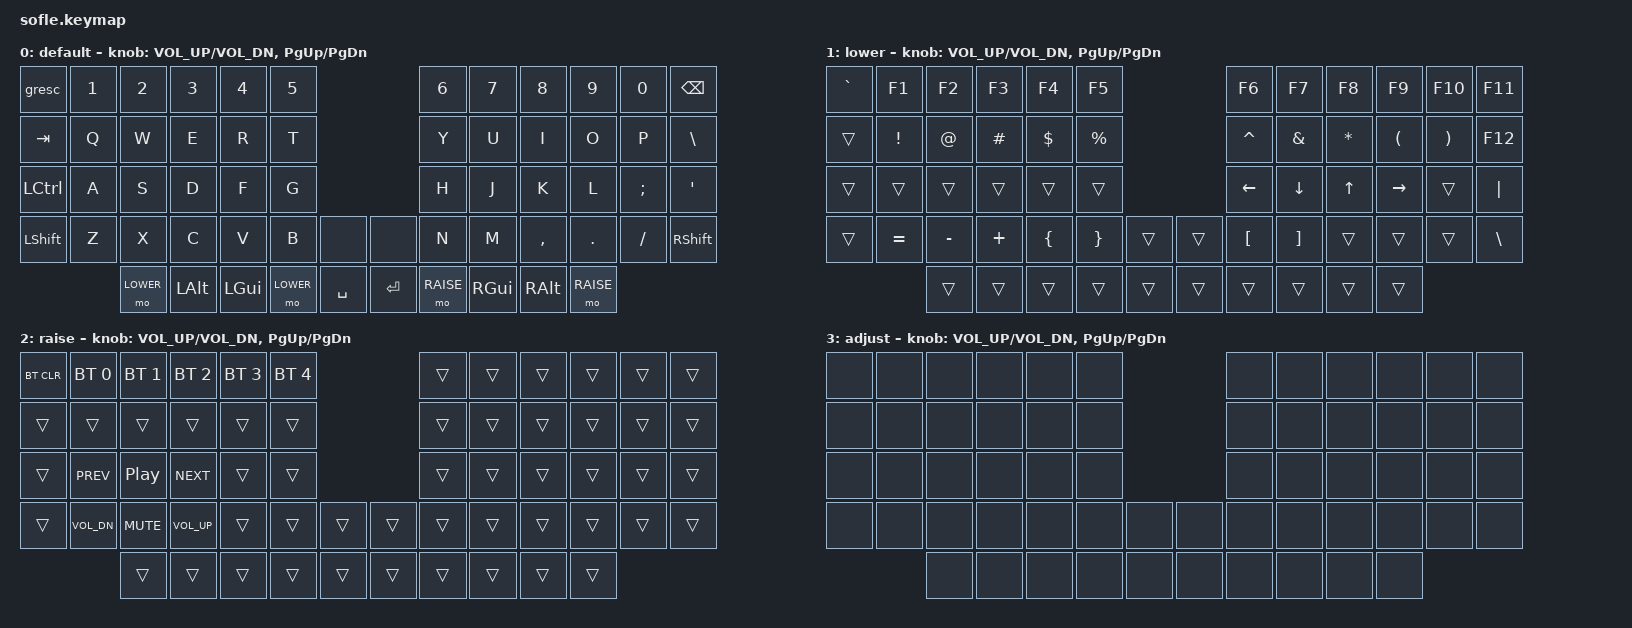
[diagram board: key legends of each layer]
/*
 * Copyright (c) 2020 The ZMK Contributors
 *
 * SPDX-License-Identifier: MIT
 */

#include <behaviors.dtsi>
#include <dt-bindings/zmk/keys.h>
#include <dt-bindings/zmk/bt.h>

#define BASE   0
#define LOWER  1
#define RAISE  2
#define ADJUST 3

&nice_view_spi {
    cs-gpios = <&pro_micro 4 GPIO_ACTIVE_HIGH>;
};

/ {
    conditional_layers {
        compatible = "zmk,conditional-layers";

        adjust_layer {
            if-layers = <LOWER RAISE>;
            then-layer = <ADJUST>;
        };
    };

    behaviors {
        gresc: grave_escape {
            compatible = "zmk,behavior-mod-morph";
            #binding-cells = <0>;
            bindings = <&kp ESC>, <&kp TILDE>;
            mods = <(MOD_LGUI|MOD_LSFT|MOD_RGUI|MOD_RSFT)>;
        };
    };

    keymap {
        compatible = "zmk,keymap";

        default_layer {
            display-name = "default";
                // ┏━━━━━━━┳━━━━━━━┳━━━━━━━┳━━━━━━━┳━━━━━━━┳━━━━━━━┓                  ┏━━━━━━━┳━━━━━━━┳━━━━━━━┳━━━━━━━┳━━━━━━━┳━━━━━━━┓
                // ┃  ESC  ┃   1   ┃   2   ┃   3   ┃   4   ┃   5   ┃                  ┃   6   ┃   7   ┃   8   ┃   9   ┃   0   ┃ BKSPC ┃
                // ┣━━━━━━━╋━━━━━━━╋━━━━━━━╋━━━━━━━╋━━━━━━━╋━━━━━━━┫                  ┣━━━━━━━╋━━━━━━━╋━━━━━━━╋━━━━━━━╋━━━━━━━╋━━━━━━━┫
                // ┃  TAB  ┃   Q   ┃   W   ┃   E   ┃   R   ┃   T   ┃                  ┃   Y   ┃   U   ┃   I   ┃   O   ┃   P   ┃   \   ┃
                // ┣━━━━━━━╋━━━━━━━╋━━━━━━━╋━━━━━━━╋━━━━━━━╋━━━━━━━┫                  ┣━━━━━━━╋━━━━━━━╋━━━━━━━╋━━━━━━━╋━━━━━━━╋━━━━━━━┫
                // ┃ LCTRL ┃   A   ┃   S   ┃   D   ┃   F   ┃   G   ┃                  ┃   H   ┃   J   ┃   K   ┃   L   ┃   ;   ┃   '   ┃
                // ┣━━━━━━━╋━━━━━━━╋━━━━━━━╋━━━━━━━╋━━━━━━━╋━━━━━━━╋━━━━━━━┓  ┏━━━━━━━╋━━━━━━━╋━━━━━━━╋━━━━━━━╋━━━━━━━╋━━━━━━━╋━━━━━━━┫
                // ┃ SHIFT ┃   Z   ┃   X   ┃   C   ┃   V   ┃   B   ┃  ???  ┃  ┃  ???  ┃   N   ┃   M   ┃   ,   ┃   .   ┃   /   ┃ SHIFT ┃
                // ┗━━━━━━━┻━━━━━━━╋━━━━━━━╋━━━━━━━╋━━━━━━━╋━━━━━━━╋━━━━━━━┫  ┣━━━━━━━╋━━━━━━━╋━━━━━━━╋━━━━━━━╋━━━━━━━╋━━━━━━━┻━━━━━━━┛
                //                 ┃ LOWER ┃  ALT  ┃  GUI  ┃ LOWER ┃ SPACE ┃  ┃ ENTER ┃ RAISE ┃  GUI  ┃  ALT  ┃ RAISE ┃
                //                 ┗━━━━━━━┻━━━━━━━┻━━━━━━━┻━━━━━━━┻━━━━━━━┛  ┗━━━━━━━┻━━━━━━━┻━━━━━━━┻━━━━━━━┻━━━━━━━┛
            bindings = <
                &gresc    &kp N1 &kp N2    &kp N3   &kp N4   &kp N5                      &kp N6    &kp N7   &kp N8    &kp N9    &kp N0   &kp BSPC
                &kp TAB   &kp Q  &kp W     &kp E    &kp R    &kp T                       &kp Y     &kp U    &kp I     &kp O     &kp P    &kp BSLH
                &kp LCTRL &kp A  &kp S     &kp D    &kp F    &kp G                       &kp H     &kp J    &kp K     &kp L     &kp SEMI &kp SQT
                &kp LSHFT &kp Z  &kp X     &kp C    &kp V    &kp B     &none     &none   &kp N     &kp M    &kp COMMA &kp DOT   &kp FSLH &kp RSHFT
                                 &mo LOWER &kp LALT &kp LGUI &mo LOWER &kp SPACE &kp RET &mo RAISE &kp RGUI &kp RALT  &mo RAISE
            >;
            sensor-bindings = <
                &inc_dec_kp C_VOL_UP C_VOL_DN
                &inc_dec_kp PG_UP PG_DN
            >;
        };

        lower_layer {
            display-name = "lower";
                // ┏━━━━━━━┳━━━━━━━┳━━━━━━━┳━━━━━━━┳━━━━━━━┳━━━━━━━┓                  ┏━━━━━━━┳━━━━━━━┳━━━━━━━┳━━━━━━━┳━━━━━━━┳━━━━━━━┓
                // ┃   `   ┃  F1   ┃  F2   ┃  F3   ┃  F4   ┃  F5   ┃                  ┃  F6   ┃  F7   ┃  F8   ┃  F9   ┃  F10  ┃  F11  ┃
                // ┣━━━━━━━╋━━━━━━━╋━━━━━━━╋━━━━━━━╋━━━━━━━╋━━━━━━━┫                  ┣━━━━━━━╋━━━━━━━╋━━━━━━━╋━━━━━━━╋━━━━━━━╋━━━━━━━┫
                // ┃       ┃   !   ┃   @   ┃   £   ┃   $   ┃   %   ┃                  ┃   ^   ┃   &   ┃   *   ┃   (   ┃   )   ┃  F12  ┃
                // ┣━━━━━━━╋━━━━━━━╋━━━━━━━╋━━━━━━━╋━━━━━━━╋━━━━━━━┫                  ┣━━━━━━━╋━━━━━━━╋━━━━━━━╋━━━━━━━╋━━━━━━━╋━━━━━━━┫
                // ┃       ┃       ┃       ┃       ┃       ┃       ┃                  ┃   ←   ┃   ↓   ┃   ↑   ┃   →   ┃       ┃   |   ┃
                // ┣━━━━━━━╋━━━━━━━╋━━━━━━━╋━━━━━━━╋━━━━━━━╋━━━━━━━╋━━━━━━━┓  ┏━━━━━━━╋━━━━━━━╋━━━━━━━╋━━━━━━━╋━━━━━━━╋━━━━━━━╋━━━━━━━┫
                // ┃       ┃   =   ┃   -   ┃   +   ┃   {   ┃   }   ┃       ┃  ┃       ┃   [   ┃   ]   ┃       ┃       ┃       ┃   \   ┃
                // ┗━━━━━━━┻━━━━━━━╋━━━━━━━╋━━━━━━━╋━━━━━━━╋━━━━━━━╋━━━━━━━┫  ┣━━━━━━━╋━━━━━━━╋━━━━━━━╋━━━━━━━╋━━━━━━━╋━━━━━━━┻━━━━━━━┛
                //                 ┃       ┃       ┃       ┃       ┃       ┃  ┃       ┃       ┃       ┃       ┃       ┃
                //                 ┗━━━━━━━┻━━━━━━━┻━━━━━━━┻━━━━━━━┻━━━━━━━┛  ┗━━━━━━━┻━━━━━━━┻━━━━━━━┻━━━━━━━┻━━━━━━━┛
            bindings = <
                &kp GRAVE &kp F1    &kp F2    &kp F3   &kp F4   &kp F5                  &kp F6    &kp F7   &kp F8    &kp F9    &kp F10  &kp F11
                &trans    &kp EXCL  &kp AT    &kp HASH &kp DLLR &kp PRCNT               &kp CARET &kp AMPS &kp ASTRK &kp LPAR  &kp RPAR &kp F12
                &trans    &trans    &trans    &trans   &trans   &trans                  &kp LEFT  &kp DOWN &kp UP    &kp RIGHT &trans   &kp PIPE
                &trans    &kp EQUAL &kp MINUS &kp PLUS &kp LBRC &kp RBRC  &trans &trans &kp LBKT  &kp RBKT &trans    &trans    &trans   &kp BSLH
                                    &trans    &trans   &trans   &trans    &trans &trans &trans    &trans   &trans    &trans
            >;
            sensor-bindings = <
                &inc_dec_kp C_VOL_UP C_VOL_DN
                &inc_dec_kp PG_UP PG_DN
            >;
        };

        raise_layer {
            display-name = "raise";
                // ┏━━━━━━━┳━━━━━━━┳━━━━━━━┳━━━━━━━┳━━━━━━━┳━━━━━━━┓                  ┏━━━━━━━┳━━━━━━━┳━━━━━━━┳━━━━━━━┳━━━━━━━┳━━━━━━━┓
                // ┃ BTCLR ┃  BT0  ┃  BT1  ┃  BT2  ┃  BT3  ┃  BT4  ┃                  ┃       ┃       ┃       ┃       ┃       ┃       ┃
                // ┣━━━━━━━╋━━━━━━━╋━━━━━━━╋━━━━━━━╋━━━━━━━╋━━━━━━━┫                  ┣━━━━━━━╋━━━━━━━╋━━━━━━━╋━━━━━━━╋━━━━━━━╋━━━━━━━┫
                // ┃       ┃       ┃       ┃       ┃       ┃       ┃                  ┃       ┃       ┃       ┃       ┃       ┃       ┃
                // ┣━━━━━━━╋━━━━━━━╋━━━━━━━╋━━━━━━━╋━━━━━━━╋━━━━━━━┫                  ┣━━━━━━━╋━━━━━━━╋━━━━━━━╋━━━━━━━╋━━━━━━━╋━━━━━━━┫
                // ┃       ┃ PREV  ┃ PPLAY ┃ FRWD  ┃       ┃       ┃                  ┃       ┃       ┃       ┃       ┃       ┃       ┃
                // ┣━━━━━━━╋━━━━━━━╋━━━━━━━╋━━━━━━━╋━━━━━━━╋━━━━━━━╋━━━━━━━┓  ┏━━━━━━━╋━━━━━━━╋━━━━━━━╋━━━━━━━╋━━━━━━━╋━━━━━━━╋━━━━━━━┫
                // ┃       ┃ VOLUP ┃  MUT  ┃ VOLDN ┃       ┃       ┃       ┃  ┃       ┃       ┃       ┃       ┃       ┃       ┃       ┃
                // ┗━━━━━━━┻━━━━━━━╋━━━━━━━╋━━━━━━━╋━━━━━━━╋━━━━━━━╋━━━━━━━┫  ┣━━━━━━━╋━━━━━━━╋━━━━━━━╋━━━━━━━╋━━━━━━━╋━━━━━━━┻━━━━━━━┛
                //                 ┃       ┃       ┃       ┃       ┃       ┃  ┃       ┃       ┃       ┃       ┃       ┃
                //                 ┗━━━━━━━┻━━━━━━━┻━━━━━━━┻━━━━━━━┻━━━━━━━┛  ┗━━━━━━━┻━━━━━━━┻━━━━━━━┻━━━━━━━┻━━━━━━━┛
            bindings = <
                &bt BT_CLR &bt BT_SEL 0 &bt BT_SEL 1     &bt BT_SEL 2 &bt BT_SEL 3 &bt BT_SEL 4               &trans &trans &trans &trans &trans &trans
                &trans     &trans       &trans           &trans       &trans       &trans                     &trans &trans &trans &trans &trans &trans
                &trans     &kp C_PREV   &kp C_PLAY_PAUSE &kp C_NEXT   &trans       &trans                     &trans &trans &trans &trans &trans &trans
                &trans     &kp C_VOL_DN &kp C_MUTE       &kp C_VOL_UP &trans       &trans       &trans &trans &trans &trans &trans &trans &trans &trans
                                        &trans           &trans       &trans       &trans       &trans &trans &trans &trans &trans &trans
            >;
            sensor-bindings = <
                &inc_dec_kp C_VOL_UP C_VOL_DN
                &inc_dec_kp PG_UP PG_DN
            >;
        };

        adjust_layer {
            display-name = "adjust";
                // ┏━━━━━━━┳━━━━━━━┳━━━━━━━┳━━━━━━━┳━━━━━━━┳━━━━━━━┓                  ┏━━━━━━━┳━━━━━━━┳━━━━━━━┳━━━━━━━┳━━━━━━━┳━━━━━━━┓
                // ┃       ┃       ┃       ┃       ┃       ┃       ┃                  ┃       ┃       ┃       ┃       ┃       ┃       ┃
                // ┣━━━━━━━╋━━━━━━━╋━━━━━━━╋━━━━━━━╋━━━━━━━╋━━━━━━━┫                  ┣━━━━━━━╋━━━━━━━╋━━━━━━━╋━━━━━━━╋━━━━━━━╋━━━━━━━┫
                // ┃       ┃       ┃       ┃       ┃       ┃       ┃                  ┃       ┃       ┃       ┃       ┃       ┃       ┃
                // ┣━━━━━━━╋━━━━━━━╋━━━━━━━╋━━━━━━━╋━━━━━━━╋━━━━━━━┫                  ┣━━━━━━━╋━━━━━━━╋━━━━━━━╋━━━━━━━╋━━━━━━━╋━━━━━━━┫
                // ┃       ┃       ┃       ┃       ┃       ┃       ┃                  ┃       ┃       ┃       ┃       ┃       ┃       ┃
                // ┣━━━━━━━╋━━━━━━━╋━━━━━━━╋━━━━━━━╋━━━━━━━╋━━━━━━━╋━━━━━━━┓  ┏━━━━━━━╋━━━━━━━╋━━━━━━━╋━━━━━━━╋━━━━━━━╋━━━━━━━╋━━━━━━━┫
                // ┃       ┃       ┃       ┃       ┃       ┃       ┃       ┃  ┃       ┃       ┃       ┃       ┃       ┃       ┃       ┃
                // ┗━━━━━━━┻━━━━━━━╋━━━━━━━╋━━━━━━━╋━━━━━━━╋━━━━━━━╋━━━━━━━┫  ┣━━━━━━━╋━━━━━━━╋━━━━━━━╋━━━━━━━╋━━━━━━━╋━━━━━━━┻━━━━━━━┛
                //                 ┃       ┃       ┃       ┃       ┃       ┃  ┃       ┃       ┃       ┃       ┃       ┃
                //                 ┗━━━━━━━┻━━━━━━━┻━━━━━━━┻━━━━━━━┻━━━━━━━┛  ┗━━━━━━━┻━━━━━━━┻━━━━━━━┻━━━━━━━┻━━━━━━━┛
            bindings = <
                &none &none &none &none &none &none             &none &none &none &none &none &none
                &none &none &none &none &none &none             &none &none &none &none &none &none
                &none &none &none &none &none &none             &none &none &none &none &none &none
                &none &none &none &none &none &none &none &none &none &none &none &none &none &none
                            &none &none &none &none &none &none &none &none &none &none
            >;
            sensor-bindings = <
                &inc_dec_kp C_VOL_UP C_VOL_DN
                &inc_dec_kp PG_UP PG_DN
            >;
        };
    };
};
